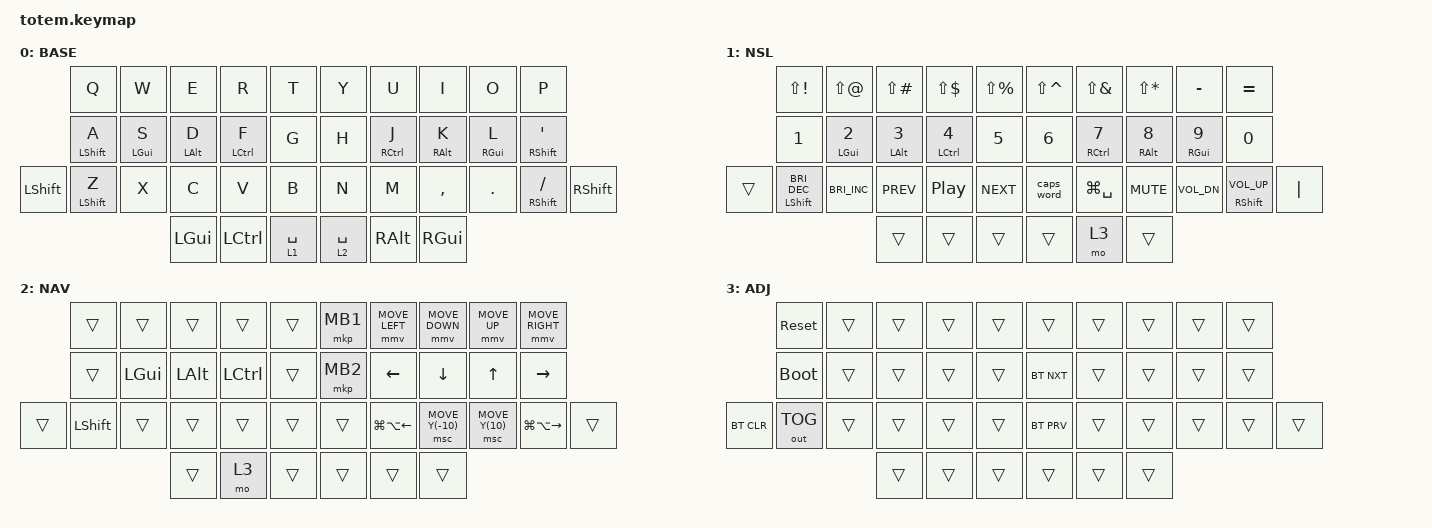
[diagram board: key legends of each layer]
//
//                                                        ▀▀▀▀▀     ▀▀▀▀▀          ▀▀█▀▀
//                                                        ▄▀▀▀▄  ▄  ▄▀▀▀▄  ▄  ▄▀▀▀▄  █  ▄▀▀▀▄
//                                                        █   █  █  █   █  █  █   █  █  █   █
//                                                         ▀▀▀   █   ▀▀▀   █   ▀▀▀   ▀   ▀▀▀
//                                                               █      ▄▄▄█▄▄▄    █   █  
//                                                               ▀      █  █  █     █▄█
//                                                             ▀▀▀▀▀    █  █  █      ▀
//                                                                      ▀  ▀  ▀
//
// ▄▄▄▄▄▄▄▄▄▄▄▄▄▄▄▄▄▄▄▄▄▄▄▄▄▄▄▄▄▄▄▄▄▄▄▄▄▄▄▄▄▄▄▄▄▄▄▄▄▄▄▄▄▄▄▄▄▄▄▄▄▄▄▄▄▄▄▄▄▄▄▄▄▄▄▄▄▄▄▄▄▄▄▄▄▄▄▄▄▄▄▄▄▄▄▄▄▄▄▄▄▄▄▄▄▄▄▄▄▄▄▄▄▄▄▄▄▄▄▄▄▄▄▄▄▄▄▄▄▄▄▄▄▄▄▄▄▄▄▄▄▄▄▄▄▄▄▄▄
       
#define ZMK_POINTING_DEFAULT_MOVE_VAL 750 // default: 600
#define ZMK_POINTING_DEFAULT_SCRL_VAL 10   // default: 10

#include <behaviors.dtsi>
#include <dt-bindings/zmk/bt.h>
#include <dt-bindings/zmk/keys.h>
#include <dt-bindings/zmk/outputs.h>
#include <dt-bindings/zmk/pointing.h>

#define BASE 0
#define NAV  1
#define NSL  2
#define ADJ  3

&mt {
    /* tapping-term-ms = <170>; */
    /* flavor = "hold-preferred"; */
    /* global-quick-tap; */

    tapping-term-ms = <400>;
    flavor = "balanced";
    require-prior-idle-ms = <200>;
};

&lt {
    /* tapping-term-ms = <170>; */
    /* flavor = "tap-preferred"; */
    /* global-quick-tap; */

    flavor = "hold-preferred";
};

&mmv {
    delay-ms = <0>;
    acceleration-exponent = <1>;
    time-to-max-speed-ms = <150>;
};

/ {
    behaviors {
        /*
        *
        */
        /*   Custom mod-tap/layer-tap behavior.
        *   The main idea is to accomodate
        *   the one-shot (i.e. sticky) mods.
        */
        /*   CTRL -based behavior of what would normally be a plain SPACE.
        *   Implemented as nested mod-morphs. The main idea is that `space`
        *   and `comma` are among the most commonly typed characters; hence
        *   their optimized placement (again, not without some individual
        *   preferences).
        */
        /*   Quasi-Shift behavior for certain keys.
        *   In the traditional QWERTY layout/keyboard proper,
        *   pairs of non-alphanumeric symbols seem to be tightly coupled
        *   with one another via Shift Mod Key (e.g. / and ? ).
        *   In ZMK, there could actually be an easier way to decouple them,
        *   and, as such, this schema is also subject to revision.
        */
        /*
        *
        *
        */
    };

    macros {
        /*   Easier navigation macros.  */
    };

    /* ---------------------------------------------------------------------------------------------------------------------------------------------------- 
              ┏━━━━━━━━━━━┳━━━━━━━━━━━┳━━━━━━━━━━━┳━━━━━━━━━━━┳━━━━━━━━━━━┓   ┏━━━━━━━━━━━┳━━━━━━━━━━━┳━━━━━━━━━━━┳━━━━━━━━━━━┳━━━━━━━━━━━┓
              ┃     b     ┃     l     ┃     d     ┃     w     ┃    z      ┃   ┃     "     ┃     f     ┃     o     ┃     u     ┃     j     ┃
              ┣━━━━━━━━━━━╋━━━━━━━━━━━╋━━━━━━━━━━━╋━━━━━━━━━━━╋━━━━━━━━━━━┫   ┣━━━━━━━━━━━╋━━━━━━━━━━━╋━━━━━━━━━━━╋━━━━━━━━━━━╋━━━━━━━━━━━┫
              ┃     n     ┃     r     ┃     t     ┃     s     ┃    g      ┃   ┃     y     ┃     h     ┃     a     ┃     e     ┃     i     ┃
  ┏━━━━━━━━━━━╋━━━━━━━━━━━╋━━━━━━━━━━━╋━━━━━━━━━━━╋━━━━━━━━━━━╋━━━━━━━━━━━┫   ┣━━━━━━━━━━━╋━━━━━━━━━━━╋━━━━━━━━━━━╋━━━━━━━━━━━╋━━━━━━━━━━━╋━━━━━━━━━━━┓
  ┃           ┃     q     ┃     x     ┃     m     ┃     c     ┃    v      ┃   ┃     k     ┃     p     ┃   - (+)   ┃   . (>)   ┃  / (<)    ┃           ┃
  ┗━━━━━━━━━━━┻━━━━━━━━━━━┻━━━━━━━━━━━╋━━━━━━━━━━━╋━━━━━━━━━━━╋━━━━━━━━━━━┫   ┣━━━━━━━━━━━╋━━━━━━━━━━━╋━━━━━━━━━━━╋━━━━━━━━━━━┻━━━━━━━━━━━┻━━━━━━━━━━━┛
                                      ┃           ┃           ┃           ┃   ┃           ┃           ┃           ┃
                                      ┗━━━━━━━━━━━┻━━━━━━━━━━━┻━━━━━━━━━━━┛   ┗━━━━━━━━━━━┻━━━━━━━━━━━┻━━━━━━━━━━━┛
*/

    combos {
        compatible = "zmk,combos";

        Q_W_tilde {
            bindings = <&kp GRAVE>;
            key-positions = <0 1>;
            timeout-ms = <25>;
            require-prior-idle-ms = <200>;
        };

        A_S_TAB {
            bindings = <&kp TAB>;
            key-positions = <10 11>;
            timeout-ms = <25>;
            require-prior-idle-ms = <200>;
        };

        P_O_BACKSPACE {
            bindings = <&kp BACKSPACE>;
            key-positions = <8 7>;
            layers = <0 1>;
            timeout-ms = <25>;
            require-prior-idle-ms = <25>;
        };

        I_O_ENTER {
            bindings = <&kp ENTER>;
            key-positions = <28 29>;
            layers = <0 1>;
            timeout-ms = <40>;
            require-prior-idle-ms = <250>;
        };

        W_E_ESC {
            bindings = <&kp ESCAPE>;
            key-positions = <1 2>;
            layers = <0 1>;
            timeout-ms = <25>;
            require-prior-idle-ms = <200>;
        };

        L_APOS_SEMI {
            bindings = <&kp SEMI>;
            key-positions = <19 18>;
            timeout-ms = <50>;
            require-prior-idle-ms = <125>;
        };

        R_T_BRAKT {
            bindings = <&kp LEFT_BRACKET>;
            key-positions = <3 4>;
            layers = <0 1>;
            timeout-ms = <50>;
            require-prior-idle-ms = <125>;
        };

        Y_U_BRACK {
            bindings = <&kp RIGHT_BRACKET>;
            key-positions = <5 6>;
            timeout-ms = <50>;
            require-prior-idle-ms = <125>;
        };

        F_G_BRACK {
            bindings = <&kp LEFT_PARENTHESIS>;
            key-positions = <14 13>;
            timeout-ms = <50>;
            require-prior-idle-ms = <125>;
        };

        H_J_BRACK {
            bindings = <&kp RIGHT_PARENTHESIS>;
            key-positions = <15 16>;
            timeout-ms = <50>;
            require-prior-idle-ms = <125>;
        };

        V_B_BRACK {
            bindings = <&kp LEFT_BRACE>;
            key-positions = <24 25>;
            timeout-ms = <50>;
            require-prior-idle-ms = <125>;
        };

        N_M_BRACK {
            bindings = <&kp RIGHT_BRACE>;
            key-positions = <26 27>;
            timeout-ms = <50>;
            require-prior-idle-ms = <125>;
        };
    };

    keymap {
        compatible = "zmk,keymap";

        base_layer {
            label = "BASE";
            bindings = <
           &kp Q             &kp W           &kp E           &kp R             &kp T          &kp Y        &kp U          &kp I            &kp O            &kp P
           &mt LEFT_SHIFT A  &mt LEFT_GUI S  &mt LEFT_ALT D  &mt LCTRL F       &kp G          &kp H        &mt RCTRL J    &mt RIGHT_ALT K  &mt RIGHT_GUI L  &mt RIGHT_SHIFT APOS
&kp LSHFT  &mt LEFT_SHIFT Z  &kp X           &kp C           &kp V             &kp B          &kp N        &kp M          &kp COMMA        &kp DOT          &mt RIGHT_SHIFT FSLH  &kp RIGHT_SHIFT
                                             &kp LEFT_GUI    &kp LEFT_CONTROL  &lt 1 SPACE    &lt 2 SPACE  &kp RIGHT_ALT  &kp RIGHT_GUI
            >;
        };

        num_sym_layer {
            label = "NSL";
            bindings = <
        &kp LS(EXCL)                     &kp LS(AT)             &kp LS(POUND)          &kp LS(DLLR)               &kp LS(PRCNT)    &kp LS(CARET)  &kp LS(AMPS)                &kp LS(STAR)            &kp MINUS               &kp EQUAL
        &kp NUMBER_1                     &mt LEFT_GUI NUMBER_2  &mt LEFT_ALT NUMBER_3  &mt LEFT_CONTROL NUMBER_4  &kp N5           &kp N6         &mt RIGHT_CONTROL NUMBER_7  &mt RIGHT_ALT NUMBER_8  &mt RIGHT_GUI NUMBER_9  &kp N0
&trans  &mt LEFT_SHIFT C_BRIGHTNESS_DEC  &kp C_BRIGHTNESS_INC   &kp C_PREV             &kp C_PLAY_PAUSE           &kp C_NEXT       &caps_word     &kp LG(SPACE)               &kp C_MUTE              &kp C_VOL_DN            &mt RIGHT_SHIFT C_VOLUME_UP  &kp PIPE
                                                                &trans                 &trans                     &trans           &trans         &mo 3                       &trans
            >;
        };

        nav_layer {
            label = "NAV";
            bindings = <
        &trans     &trans    &trans    &trans     &trans    &mkp MB1  &mmv MOVE_LEFT    &mmv MOVE_DOWN    &mmv MOVE_UP     &mmv MOVE_RIGHT
        &trans     &kp LGUI  &kp LALT  &kp LCTRL  &trans    &mkp MB2  &kp LEFT          &kp DOWN          &kp UP           &kp RIGHT
&trans  &kp LSHFT  &trans    &trans    &trans     &trans    &trans    &kp LG(LA(LEFT))  &msc MOVE_Y(-10)  &msc MOVE_Y(10)  &kp LG(LA(RIGHT))  &trans
                             &trans    &mo 3      &trans    &trans    &trans            &trans
            >;
        };

        adjust_layer {
            label = "ADJ";
            bindings = <
            &sys_reset    &trans  &trans  &trans  &trans    &trans      &trans  &trans  &trans  &trans
            &bootloader   &trans  &trans  &trans  &trans    &bt BT_NXT  &trans  &trans  &trans  &trans
&bt BT_CLR  &out OUT_TOG  &trans  &trans  &trans  &trans    &bt BT_PRV  &trans  &trans  &trans  &trans  &trans
                                  &trans  &trans  &trans    &trans      &trans  &trans
            >;
        };
    };
};
